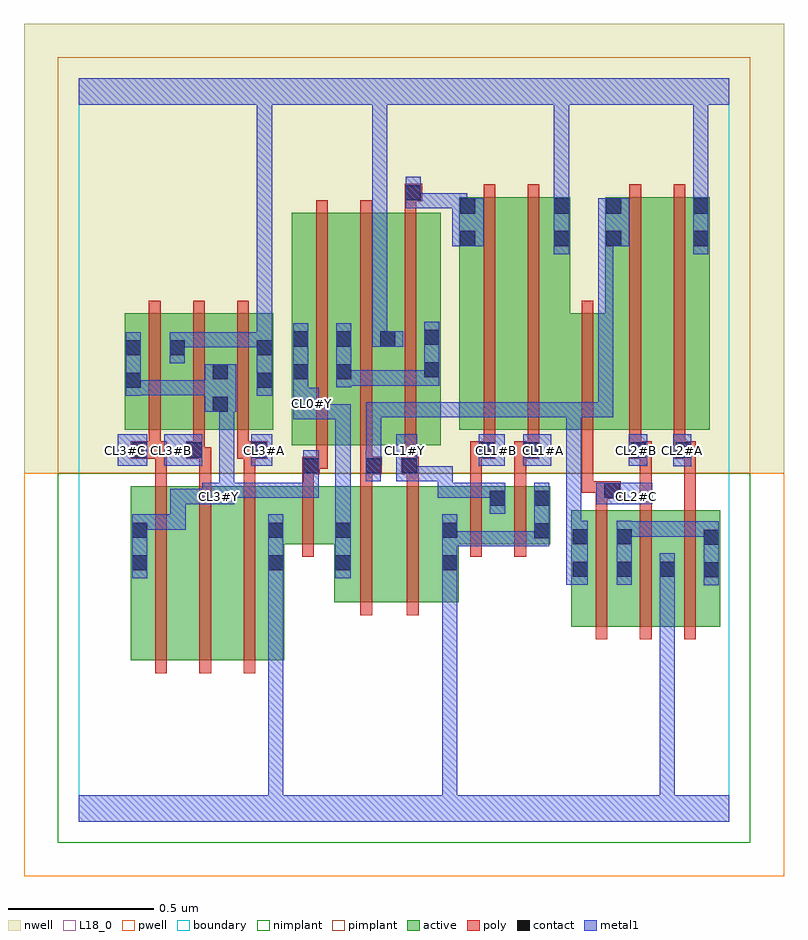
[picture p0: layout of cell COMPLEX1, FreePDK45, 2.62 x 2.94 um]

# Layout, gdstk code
import gdstk
lib = gdstk.Library(unit=1e-6, precision=1e-09)
def R(c, l, rs):  # rectangles x0, y0, x1, y1
    for r in rs: c.add(gdstk.rectangle(r[:2], r[2:], *l))
def A(c, l, x, y, w, h, nx, ny, dx, dy):  # array of equal rectangles
    R(c, l, [(x+i*dx, y+j*dy, x+i*dx+w, y+j*dy+h) for i in range(nx) for j in range(ny)])
active = (1, 0)
pwell = (2, 0)
nwell = (3, 0)
nimplant = (4, 0)
pimplant = (5, 0)
poly = (9, 0)
contact = (10, 0)
metal1 = (11, 0)
L18_0 = (18, 0)
boundary = (235, 0)

complex1 = lib.new_cell('COMPLEX1')
R(complex1, active, [(0.18,0.556,0.36,1.156), (0.18,0.556,0.24,1.156), (0.36,0.556,0.512,1.156), (0.512,0.556,0.708,1.156), (1.696,0.672,1.908,1.072), (1.696,0.672,1.756,1.072), (1.848,0.672,2.056,1.072), (1.848,0.672,1.908,1.012), (1.996,0.672,2.208,1.072), (1.996,0.672,2.056,0.902), (0.88,0.756,0.94,1.156), (0.88,0.756,1.066,1.156), (1.066,0.756,1.308,1.156), (1.248,0.756,1.308,1.034), (2.148,0.756,2.208,1.072), (0.648,0.862,0.708,1.156), (0.648,0.956,0.94,1.156), (1.248,0.956,1.472,1.156), (1.412,0.956,1.472,1.156), (1.412,0.956,1.624,1.156), (1.564,0.956,1.624,1.156), (0.734,1.296,0.794,2.044), (0.734,1.296,0.942,2.096), (0.882,1.296,1.094,2.096), (1.034,1.296,1.246,2.096), (1.186,1.296,1.246,2.044), (0.158,1.35,0.37,1.75), (0.158,1.35,0.218,1.75), (0.31,1.35,0.518,1.75), (0.31,1.35,0.37,1.75), (0.458,1.35,0.67,1.75), (0.458,1.35,0.518,1.644), (0.61,1.35,0.67,1.75), (1.31,1.35,1.37,2.15), (1.31,1.35,1.49,2.15), (1.49,1.35,1.692,2.15), (1.632,1.35,1.692,2.15), (1.632,1.35,1.872,1.75), (1.812,1.35,1.872,2.15), (1.812,1.35,1.992,2.15), (1.992,1.35,2.172,2.15), (2.112,1.35,2.172,2.15), (1.034,1.472,1.094,2.044), (0.882,1.52,0.942,2.044)])
R(complex1, pwell, [(-0.188,-0.188,2.428,1.2)])
R(complex1, nwell, [(-0.188,1.2,2.428,2.748)])
R(complex1, nimplant, [(-0.072,-0.072,2.312,1.2)])
R(complex1, pimplant, [(-0.072,1.2,2.312,2.632)])
A(complex1, poly, 0.264, 0.512, 0.04, 0.688, 3, 1, 0.152, 0)
A(complex1, poly, 1.78, 0.628, 0.04, 0.488, 3, 1, 0.152, 0)
A(complex1, poly, 0.264, 1.16, 0.04, 0.13, 3, 1, 0.152, 0)
A(complex1, poly, 0.818, 1.216, 0.04, 0.076, 3, 1, 0.152, 0)
A(complex1, poly, 0.818, 1.252, 0.04, 0.888, 3, 1, 0.152, 0)
A(complex1, poly, 0.242, 1.27, 0.04, 0.076, 3, 1, 0.152, 0)
A(complex1, poly, 0.242, 1.306, 0.04, 0.488, 3, 1, 0.152, 0)
R(complex1, poly, [(0.97,0.712,1.01,1.2), (1.13,0.712,1.17,1.2), (0.77,0.912,0.81,1.2), (1.348,0.912,1.388,1.2), (1.5,0.912,1.54,1.2), (1.78,1.076,1.82,1.152), (1.932,1.076,1.972,1.29), (2.084,1.076,2.124,1.29), (1.78,1.112,1.866,1.172), (1.732,1.132,1.772,1.346), (1.732,1.132,1.82,1.172), (1.78,1.132,1.82,1.172), (0.77,1.16,0.81,1.236), (0.97,1.16,1.01,1.236), (1.13,1.16,1.17,1.236), (1.348,1.16,1.388,1.29), (1.5,1.16,1.54,1.29), (0.77,1.196,0.83,1.256), (0.97,1.196,1.01,1.236), (0.97,1.196,1.01,1.236), (0.97,1.196,1.044,1.256), (1.11,1.196,1.17,1.256), (0.79,1.216,0.83,1.256), (0.79,1.216,0.858,1.256), (1.122,1.216,1.162,1.256), (1.122,1.216,1.162,1.256), (0.18,1.25,0.304,1.31), (0.37,1.25,0.434,1.31), (0.394,1.25,0.434,1.29), (0.394,1.25,0.456,1.29), (0.546,1.25,0.65,1.31), (0.568,1.25,0.608,1.29), (0.568,1.25,0.608,1.29), (1.348,1.25,1.434,1.31), (1.5,1.25,1.586,1.31), (1.896,1.25,1.972,1.31), (1.932,1.25,1.972,1.29), (1.932,1.25,1.972,1.29), (2.052,1.25,2.124,1.31), (0.242,1.27,0.282,1.31), (0.242,1.27,0.282,1.31), (1.394,1.27,1.434,1.346), (1.394,1.27,1.434,1.31), (1.394,1.27,1.434,1.31), (1.546,1.27,1.586,1.346), (1.546,1.27,1.586,1.31), (1.546,1.27,1.586,1.31), (1.896,1.27,1.936,1.346), (2.048,1.27,2.088,1.346), (2.048,1.27,2.092,1.31), (2.052,1.27,2.092,1.31), (1.394,1.306,1.434,2.194), (1.546,1.306,1.586,2.194), (1.732,1.306,1.772,1.794), (1.896,1.306,1.936,2.194), (2.048,1.306,2.088,2.194), (1.122,2.1,1.162,2.176), (1.122,2.136,1.182,2.196)])
R(complex1, contact, [(2.152,0.842,2.204,0.894), (1.7,0.844,1.752,0.896), (1.852,0.844,1.904,0.896), (2,0.844,2.052,0.896), (0.184,0.866,0.236,0.918), (0.652,0.866,0.704,0.918), (0.884,0.866,0.936,0.918), (1.252,0.866,1.304,0.918), (2.152,0.954,2.204,1.006), (1.7,0.956,1.752,1.008), (1.852,0.956,1.904,1.008), (1.568,0.976,1.62,1.028), (0.184,0.978,0.236,1.03), (0.652,0.978,0.704,1.03), (0.884,0.978,0.936,1.03), (1.252,0.978,1.304,1.03), (1.416,1.088,1.468,1.14), (1.568,1.088,1.62,1.14), (1.81,1.116,1.862,1.168), (0.774,1.2,0.826,1.252), (0.988,1.2,1.04,1.252), (1.114,1.2,1.166,1.252), (0.184,1.254,0.236,1.306), (0.374,1.254,0.426,1.306), (0.594,1.254,0.646,1.306), (1.378,1.254,1.43,1.306), (1.53,1.254,1.582,1.306), (1.9,1.254,1.952,1.306), (2.056,1.254,2.108,1.306), (0.462,1.412,0.514,1.464), (0.162,1.494,0.214,1.546), (0.614,1.494,0.666,1.546), (0.462,1.524,0.514,1.576), (0.738,1.524,0.79,1.576), (0.886,1.524,0.938,1.576), (1.19,1.53,1.242,1.582), (0.162,1.606,0.214,1.658), (0.314,1.606,0.366,1.658), (0.614,1.606,0.666,1.658), (0.738,1.636,0.79,1.688), (0.886,1.636,0.938,1.688), (1.038,1.636,1.09,1.688), (1.19,1.642,1.242,1.694), (1.314,1.982,1.366,2.034), (1.636,1.982,1.688,2.034), (1.816,1.982,1.868,2.034), (2.116,1.982,2.168,2.034), (1.314,2.094,1.366,2.146), (1.636,2.094,1.688,2.146), (1.816,2.094,1.868,2.146), (2.116,2.094,2.168,2.146), (1.126,2.14,1.178,2.192)])
R(complex1, metal1, [(0,0,2.24,0.092), (0.652,0.04,0.704,0.092), (0.652,0.04,0.704,0.092), (0.652,0.04,0.704,0.092), (0.652,0.04,0.704,0.092), (0.652,0.04,0.704,0.092), (0.652,0.04,0.704,0.092), (0.652,0.04,0.704,0.89), (1.252,0.04,1.304,0.092), (1.252,0.04,1.304,0.092), (1.252,0.04,1.304,0.092), (1.252,0.04,1.304,0.092), (1.252,0.04,1.304,0.092), (1.252,0.04,1.304,0.092), (1.252,0.04,1.304,0.092), (1.252,0.04,1.304,0.092), (1.252,0.04,1.304,0.092), (1.252,0.04,1.304,0.092), (1.252,0.04,1.304,0.092), (1.252,0.04,1.304,0.092), (1.252,0.04,1.304,0.89), (2,0.04,2.052,0.092), (2,0.04,2.052,0.092), (2,0.04,2.052,0.092), (2,0.04,2.052,0.092), (2,0.04,2.052,0.092), (2,0.04,2.052,0.092), (2,0.04,2.052,0.092), (2,0.04,2.052,0.092), (2,0.04,2.052,0.868), (2.152,0.814,2.204,1.034), (1.678,0.816,1.752,1.036), (1.852,0.816,1.904,1.036), (2,0.816,2.052,0.868), (2,0.816,2.052,0.868), (2,0.816,2.052,0.868), (2,0.816,2.052,0.868), (2,0.816,2.052,0.924), (0.184,0.838,0.236,1.058), (0.652,0.838,0.704,0.89), (0.652,0.838,0.704,0.89), (0.652,0.838,0.704,1.058), (0.884,0.838,0.936,1.058), (1.252,0.838,1.304,0.89), (1.252,0.838,1.304,0.89), (1.252,0.838,1.304,0.89), (1.252,0.838,1.304,0.89), (1.252,0.838,1.304,1.058), (1.252,0.948,1.472,1), (1.42,0.948,1.472,1), (1.42,0.948,1.472,1), (1.42,0.948,1.472,1), (1.42,0.948,1.62,1), (1.568,0.948,1.62,1), (1.568,0.948,1.62,1), (1.568,0.948,1.62,1.168), (1.852,0.982,1.904,1.034), (1.852,0.982,1.904,1.034), (1.852,0.982,2.052,1.034), (2,0.982,2.052,1.034), (2,0.982,2.052,1.034), (2,0.982,2.052,1.034), (2,0.982,2.204,1.034), (1.678,0.984,1.73,1.036), (1.678,0.984,1.73,1.036), (1.678,0.984,1.73,1.444), (0.184,1.006,0.236,1.058), (0.184,1.006,0.236,1.058), (0.184,1.006,0.368,1.058), (0.316,1.006,0.368,1.058), (0.316,1.006,0.368,1.146), (0.884,1.006,0.936,1.058), (0.884,1.006,0.936,1.058), (0.884,1.006,0.936,1.438), (1.416,1.06,1.468,1.168), (0.316,1.094,0.368,1.146), (0.316,1.094,0.368,1.146), (0.316,1.094,0.368,1.146), (0.316,1.094,0.478,1.146), (0.426,1.094,0.536,1.168), (1.782,1.094,1.974,1.168), (0.484,1.116,0.536,1.168), (0.484,1.116,0.536,1.168), (0.484,1.116,0.646,1.168), (0.484,1.116,0.536,1.464), (0.594,1.116,0.646,1.168), (0.594,1.116,0.646,1.168), (0.594,1.116,0.646,1.168), (0.594,1.116,0.826,1.168), (0.774,1.116,0.826,1.224), (1.236,1.116,1.288,1.168), (1.236,1.116,1.288,1.224), (1.236,1.116,1.468,1.168), (1.416,1.116,1.468,1.168), (1.416,1.116,1.468,1.168), (0.774,1.172,0.826,1.224), (0.774,1.172,0.826,1.28), (0.988,1.172,1.04,1.28), (1.094,1.172,1.166,1.334), (1.114,1.172,1.288,1.224), (1.236,1.172,1.288,1.224), (1.236,1.172,1.288,1.224), (1.236,1.172,1.288,1.224), (2.046,1.224,2.108,1.334), (0.134,1.226,0.236,1.334), (0.294,1.226,0.426,1.334), (0.594,1.226,0.666,1.334), (1.378,1.226,1.466,1.334), (1.53,1.226,1.626,1.334), (1.894,1.226,1.958,1.334), (0.988,1.228,1.042,1.28), (0.99,1.228,1.042,1.444), (0.738,1.386,0.826,1.494), (0.774,1.386,0.826,1.438), (0.774,1.386,0.826,1.438), (0.774,1.386,0.936,1.438), (0.884,1.386,0.936,1.438), (0.99,1.392,1.178,1.444), (1.126,1.392,1.178,1.444), (1.126,1.392,1.32,1.444), (1.268,1.392,1.32,1.444), (1.268,1.392,1.32,1.444), (1.268,1.392,1.32,1.444), (1.268,1.392,1.472,1.444), (1.42,1.392,1.472,1.444), (1.42,1.392,1.472,1.444), (1.42,1.392,1.472,1.444), (1.42,1.392,1.62,1.444), (1.568,1.392,1.62,1.444), (1.568,1.392,1.62,1.444), (1.568,1.392,1.62,1.444), (1.568,1.392,1.73,1.444), (1.678,1.392,1.73,1.444), (1.678,1.392,1.794,1.444), (1.742,1.392,1.794,1.444), (1.742,1.392,1.84,1.444), (1.788,1.392,1.84,1.444), (1.788,1.392,1.84,2.034), (0.434,1.412,0.542,1.576), (0.738,1.442,0.79,1.548), (0.162,1.466,0.214,1.686), (0.614,1.466,0.666,1.686), (0.162,1.468,0.214,1.52), (0.162,1.468,0.214,1.52), (0.162,1.468,0.368,1.52), (0.316,1.468,0.368,1.52), (0.316,1.468,0.368,1.52), (0.316,1.468,0.368,1.52), (0.316,1.468,0.486,1.52), (0.738,1.496,0.79,1.716), (0.886,1.496,0.938,1.716), (0.886,1.502,0.938,1.554), (0.886,1.502,0.938,1.554), (0.886,1.502,1.048,1.554), (0.996,1.502,1.048,1.554), (0.996,1.502,1.15,1.554), (1.098,1.502,1.15,1.554), (1.098,1.502,1.242,1.554), (1.19,1.502,1.242,1.722), (0.314,1.578,0.366,1.686), (0.314,1.634,0.366,1.686), (0.314,1.634,0.366,1.686), (0.314,1.634,0.536,1.686), (0.484,1.634,0.536,1.686), (0.484,1.634,0.536,1.686), (0.484,1.634,0.536,1.686), (0.484,1.634,0.666,1.686), (0.614,1.634,0.666,1.686), (0.614,1.634,0.666,1.686), (0.614,1.634,0.666,1.686), (0.614,1.634,0.666,1.686), (0.614,1.634,0.666,2.52), (1.01,1.636,1.062,1.688), (1.01,1.636,1.062,1.688), (1.01,1.636,1.062,1.688), (1.01,1.636,1.062,1.688), (1.01,1.636,1.062,1.688), (1.01,1.636,1.062,1.688), (1.01,1.636,1.062,2.52), (1.01,1.636,1.118,1.688), (1.636,1.954,1.688,2.174), (2.116,1.954,2.168,2.174), (1.286,1.982,1.394,2.146), (1.788,1.982,1.896,2.146), (1.286,2.094,1.338,2.164), (1.126,2.112,1.178,2.22), (1.126,2.112,1.32,2.164), (1.268,2.112,1.32,2.164), (1.268,2.112,1.338,2.164), (1.286,2.112,1.338,2.164), (1.636,2.122,1.688,2.52), (1.636,2.122,1.688,2.174), (1.636,2.122,1.688,2.174), (1.636,2.122,1.688,2.174), (1.636,2.122,1.688,2.174), (1.636,2.122,1.688,2.174), (1.636,2.122,1.688,2.174), (1.636,2.122,1.688,2.174), (1.636,2.122,1.688,2.174), (2.116,2.122,2.168,2.52), (2.116,2.122,2.168,2.174), (2.116,2.122,2.168,2.174), (2.116,2.122,2.168,2.174), (2.116,2.122,2.168,2.174), (2.116,2.122,2.168,2.174), (2.116,2.122,2.168,2.174), (0,2.468,2.24,2.56), (0.614,2.468,0.666,2.52), (0.614,2.468,0.666,2.52), (0.614,2.468,0.666,2.52), (0.614,2.468,0.666,2.52), (0.614,2.468,0.666,2.52), (0.614,2.468,0.666,2.52), (0.614,2.468,0.666,2.52), (0.614,2.468,0.666,2.52), (0.614,2.468,0.666,2.52), (0.614,2.468,0.666,2.52), (0.614,2.468,0.666,2.52), (0.614,2.468,0.666,2.52), (1.01,2.468,1.062,2.52), (1.01,2.468,1.062,2.52), (2.116,2.468,2.168,2.52), (2.116,2.468,2.168,2.52)])
R(complex1, L18_0, [(0,0,2.24,0.092), (0.652,0.04,0.704,0.092), (0.652,0.04,0.704,0.092), (0.652,0.04,0.704,0.092), (0.652,0.04,0.704,0.092), (0.652,0.04,0.704,0.092), (0.652,0.04,0.704,0.092), (0.652,0.04,0.704,0.89), (1.252,0.04,1.304,0.092), (1.252,0.04,1.304,0.092), (1.252,0.04,1.304,0.092), (1.252,0.04,1.304,0.092), (1.252,0.04,1.304,0.092), (1.252,0.04,1.304,0.092), (1.252,0.04,1.304,0.092), (1.252,0.04,1.304,0.092), (1.252,0.04,1.304,0.092), (1.252,0.04,1.304,0.092), (1.252,0.04,1.304,0.092), (1.252,0.04,1.304,0.092), (1.252,0.04,1.304,0.89), (2,0.04,2.052,0.092), (2,0.04,2.052,0.092), (2,0.04,2.052,0.092), (2,0.04,2.052,0.092), (2,0.04,2.052,0.092), (2,0.04,2.052,0.092), (2,0.04,2.052,0.092), (2,0.04,2.052,0.092), (2,0.04,2.052,0.868), (2,0.816,2.052,0.868), (2,0.816,2.052,0.868), (2,0.816,2.052,0.868), (2,0.816,2.052,0.868), (2,0.816,2.052,0.924), (0.184,0.838,0.236,1.058), (0.652,0.838,0.704,1.058), (0.652,0.838,0.704,0.89), (0.652,0.838,0.704,0.89), (0.884,0.838,0.936,1.058), (1.252,0.838,1.304,1.058), (1.252,0.838,1.304,0.89), (1.252,0.838,1.304,0.89), (1.252,0.838,1.304,0.89), (1.252,0.838,1.304,0.89), (1.252,0.948,1.472,1), (1.42,0.948,1.472,1), (1.42,0.948,1.472,1), (1.42,0.948,1.472,1), (1.42,0.948,1.62,1), (1.568,0.948,1.62,1.168), (1.568,0.948,1.62,1), (1.568,0.948,1.62,1), (0.184,1.006,0.236,1.058), (0.184,1.006,0.236,1.058), (0.184,1.006,0.368,1.058), (0.316,1.006,0.368,1.058), (0.316,1.006,0.368,1.146), (0.884,1.006,0.936,1.058), (0.884,1.006,0.936,1.058), (0.884,1.006,0.936,1.438), (1.416,1.06,1.468,1.168), (0.316,1.094,0.368,1.146), (0.316,1.094,0.368,1.146), (0.316,1.094,0.368,1.146), (0.316,1.094,0.478,1.146), (0.426,1.094,0.536,1.168), (0.454,1.094,0.506,1.146), (1.782,1.094,1.974,1.168), (1.894,1.094,1.946,1.146), (0.484,1.116,0.536,1.168), (0.484,1.116,0.536,1.168), (0.484,1.116,0.646,1.168), (0.484,1.116,0.536,1.464), (0.594,1.116,0.646,1.168), (0.594,1.116,0.646,1.168), (0.594,1.116,0.646,1.168), (0.594,1.116,0.826,1.168), (0.774,1.116,0.826,1.224), (1.236,1.116,1.288,1.168), (1.236,1.116,1.288,1.224), (1.236,1.116,1.468,1.168), (1.416,1.116,1.468,1.168), (1.416,1.116,1.468,1.168), (0.774,1.172,0.826,1.224), (0.774,1.172,0.826,1.28), (1.094,1.172,1.166,1.334), (1.114,1.172,1.288,1.224), (1.236,1.172,1.288,1.224), (1.236,1.172,1.288,1.224), (1.236,1.172,1.288,1.224), (2.046,1.224,2.108,1.334), (0.134,1.226,0.236,1.334), (0.294,1.226,0.426,1.334), (0.594,1.226,0.666,1.334), (1.378,1.226,1.466,1.334), (1.53,1.226,1.626,1.334), (1.894,1.226,1.958,1.334), (0.134,1.254,0.186,1.306), (0.294,1.254,0.346,1.306), (0.614,1.254,0.666,1.306), (1.094,1.254,1.146,1.306), (1.414,1.254,1.466,1.306), (1.574,1.254,1.626,1.306), (1.894,1.254,1.946,1.306), (2.054,1.254,2.106,1.306), (0.738,1.386,0.826,1.494), (0.774,1.386,0.826,1.438), (0.774,1.386,0.826,1.438), (0.774,1.386,0.936,1.438), (0.884,1.386,0.936,1.438), (0.434,1.412,0.542,1.576), (0.774,1.414,0.826,1.466), (0.738,1.442,0.79,1.548), (0.162,1.466,0.214,1.686), (0.614,1.466,0.666,1.686), (0.162,1.468,0.214,1.52), (0.162,1.468,0.214,1.52), (0.162,1.468,0.368,1.52), (0.316,1.468,0.368,1.52), (0.316,1.468,0.368,1.52), (0.316,1.468,0.368,1.52), (0.316,1.468,0.486,1.52), (0.738,1.496,0.79,1.716), (0.314,1.578,0.366,1.686), (0.314,1.634,0.366,1.686), (0.314,1.634,0.366,1.686), (0.314,1.634,0.536,1.686), (0.484,1.634,0.536,1.686), (0.484,1.634,0.536,1.686), (0.484,1.634,0.536,1.686), (0.484,1.634,0.666,1.686), (0.614,1.634,0.666,1.686), (0.614,1.634,0.666,1.686), (0.614,1.634,0.666,1.686), (0.614,1.634,0.666,1.686), (0.614,1.634,0.666,2.52), (1.01,1.636,1.062,1.688), (1.01,1.636,1.062,1.688), (1.01,1.636,1.062,1.688), (1.01,1.636,1.062,1.688), (1.01,1.636,1.062,1.688), (1.01,1.636,1.062,1.688), (1.01,1.636,1.118,1.688), (1.01,1.636,1.062,2.52), (1.636,1.954,1.688,2.174), (2.116,1.954,2.168,2.174), (1.286,1.982,1.394,2.146), (1.286,2.094,1.338,2.164), (1.126,2.112,1.178,2.22), (1.126,2.112,1.32,2.164), (1.268,2.112,1.32,2.164), (1.268,2.112,1.338,2.164), (1.286,2.112,1.338,2.164), (1.636,2.122,1.688,2.174), (1.636,2.122,1.688,2.174), (1.636,2.122,1.688,2.174), (1.636,2.122,1.688,2.174), (1.636,2.122,1.688,2.174), (1.636,2.122,1.688,2.174), (1.636,2.122,1.688,2.174), (1.636,2.122,1.688,2.174), (1.636,2.122,1.688,2.52), (2.116,2.122,2.168,2.174), (2.116,2.122,2.168,2.174), (2.116,2.122,2.168,2.174), (2.116,2.122,2.168,2.174), (2.116,2.122,2.168,2.174), (2.116,2.122,2.168,2.174), (2.116,2.122,2.168,2.52), (0,2.468,2.24,2.56), (0.614,2.468,0.666,2.52), (0.614,2.468,0.666,2.52), (0.614,2.468,0.666,2.52), (0.614,2.468,0.666,2.52), (0.614,2.468,0.666,2.52), (0.614,2.468,0.666,2.52), (0.614,2.468,0.666,2.52), (0.614,2.468,0.666,2.52), (0.614,2.468,0.666,2.52), (0.614,2.468,0.666,2.52), (0.614,2.468,0.666,2.52), (0.614,2.468,0.666,2.52), (1.01,2.468,1.062,2.52), (1.01,2.468,1.062,2.52), (2.116,2.468,2.168,2.52), (2.116,2.468,2.168,2.52)])
R(complex1, boundary, [(0,0,2.24,2.56)])
complex1.add(gdstk.Label('CL0#Y', (0.8,1.44), layer=11, texttype=0))
complex1.add(gdstk.Label('CL1#A', (1.6,1.28), layer=11, texttype=0))
complex1.add(gdstk.Label('CL1#B', (1.44,1.28), layer=11, texttype=0))
complex1.add(gdstk.Label('CL1#Y', (1.12,1.28), layer=11, texttype=0))
complex1.add(gdstk.Label('CL2#A', (2.08,1.28), layer=11, texttype=0))
complex1.add(gdstk.Label('CL2#B', (1.92,1.28), layer=11, texttype=0))
complex1.add(gdstk.Label('CL2#C', (1.92,1.12), layer=11, texttype=0))
complex1.add(gdstk.Label('CL3#A', (0.64,1.28), layer=11, texttype=0))
complex1.add(gdstk.Label('CL3#B', (0.32,1.28), layer=11, texttype=0))
complex1.add(gdstk.Label('CL3#C', (0.16,1.28), layer=11, texttype=0))
complex1.add(gdstk.Label('CL3#Y', (0.48,1.12), layer=11, texttype=0))

lib.write_gds('COMPLEX1.gds')
